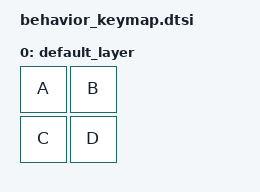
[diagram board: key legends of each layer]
#include <dt-bindings/zmk/keys.h>
#include <dt-bindings/zmk/kscan_mock.h>
#include <dt-bindings/zmk/led_matrix.h>
#include <dt-bindings/zmk/led_matrix_colors.h>
#include <dt-bindings/led/led.h>
#include <behaviors.dtsi>

/ {
    chosen {
        zmk,kscan = &kscan;
    };

    kscan: native_posix_64_kscan_mock {
        compatible = "zmk,kscan-mock";

        rows = <2>;
        columns = <2>;
        exit-after;
        events = <
            ZMK_MOCK_PRESS(0,0,10)
            ZMK_MOCK_RELEASE(0,0,10)
        >;
    };

    keymap {
        compatible = "zmk,keymap";

        default_layer {
            bindings = <
                &kp A &kp B
                &kp C &kp D
            >;
        };
    };
};
